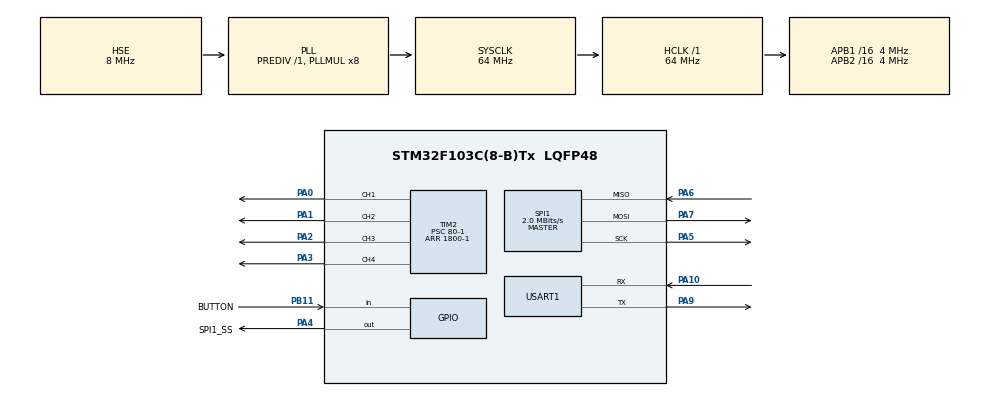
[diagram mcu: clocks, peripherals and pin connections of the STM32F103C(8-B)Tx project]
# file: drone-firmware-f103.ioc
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Mcu.Family=STM32F1
Mcu.Name=STM32F103C(8-B)Tx
Mcu.Package=LQFP48
NVIC.PriorityGroup=NVIC_PRIORITYGROUP_4
PA0-WKUP.Signal=S_TIM2_CH1_ETR
PA1.Signal=S_TIM2_CH2
PA10.Mode=Asynchronous
PA10.Signal=USART1_RX
PA13.Mode=Serial_Wire
PA13.Signal=SYS_JTMS-SWDIO
PA14.Mode=Serial_Wire
PA14.Signal=SYS_JTCK-SWCLK
PA2.Signal=S_TIM2_CH3
PA3.Signal=S_TIM2_CH4
PA4.GPIO_Label=SPI1_SS
PA4.Signal=GPIO_Output
PA5.Mode=Full_Duplex_Master
PA5.Signal=SPI1_SCK
PA6.Mode=Full_Duplex_Master
PA6.Signal=SPI1_MISO
PA7.Mode=Full_Duplex_Master
PA7.Signal=SPI1_MOSI
PA9.Mode=Asynchronous
PA9.Signal=USART1_TX
PB11.GPIO_Label=BUTTON
PB11.GPIO_PuPd=GPIO_PULLDOWN
PB11.Signal=GPIO_Input
PD0-OSC_IN.Mode=HSE-External-Oscillator
PD0-OSC_IN.Signal=RCC_OSC_IN
PD1-OSC_OUT.Mode=HSE-External-Oscillator
PD1-OSC_OUT.Signal=RCC_OSC_OUT
ProjectManager.HeapSize=0x200
ProjectManager.StackSize=0x400
ProjectManager.TargetToolchain=Makefile
RCC.AHBFreq_Value=64000000
RCC.APB1CLKDivider=RCC_HCLK_DIV16
RCC.APB1Freq_Value=4000000
RCC.APB1TimFreq_Value=8000000
RCC.APB2CLKDivider=RCC_HCLK_DIV16
RCC.APB2Freq_Value=4000000
RCC.APB2TimFreq_Value=8000000
RCC.HCLKFreq_Value=64000000
RCC.PLLMUL=RCC_PLL_MUL8
RCC.PLLSourceVirtual=RCC_PLLSOURCE_HSE
RCC.SYSCLKFreq_VALUE=64000000
RCC.SYSCLKSource=RCC_SYSCLKSOURCE_PLLCLK
RCC.USBFreq_Value=64000000
SH.S_TIM2_CH1_ETR.0=TIM2_CH1,PWM Generation1 CH1
SH.S_TIM2_CH2.0=TIM2_CH2,PWM Generation2 CH2
SH.S_TIM2_CH3.0=TIM2_CH3,PWM Generation3 CH3
SH.S_TIM2_CH4.0=TIM2_CH4,PWM Generation4 CH4
SPI1.BaudRatePrescaler=SPI_BAUDRATEPRESCALER_2
SPI1.CalculateBaudRate=2.0 MBits/s
SPI1.Direction=SPI_DIRECTION_2LINES
SPI1.Mode=SPI_MODE_MASTER
SPI1.VirtualType=VM_MASTER
TIM2.Channel-PWM\ Generation1\ CH1=TIM_CHANNEL_1
TIM2.Channel-PWM\ Generation2\ CH2=TIM_CHANNEL_2
TIM2.Channel-PWM\ Generation3\ CH3=TIM_CHANNEL_3
TIM2.Channel-PWM\ Generation4\ CH4=TIM_CHANNEL_4
TIM2.Period=1800-1
TIM2.Prescaler=80-1
USART1.VirtualMode=VM_ASYNC
VP_TIM2_VS_ClockSourceINT.Mode=Internal
board=custom

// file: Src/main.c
/* USER CODE BEGIN Header */
/**
  ******************************************************************************
  * @file           : main.c
  * @brief          : Main program body
  ******************************************************************************
  * @attention
  *
  * <h2><center>&copy; Copyright (c) 2019 STMicroelectronics.
  * All rights reserved.</center></h2>
  *
  * This software component is licensed by ST under BSD 3-Clause license,
  * the "License"; You may not use this file except in compliance with the
  * License. You may obtain a copy of the License at:
  *                        opensource.org/licenses/BSD-3-Clause
  *
  ******************************************************************************
  */
/* USER CODE END Header */

#include "main.h"

/* USER CODE BEGIN PD */
#define ESC1_CHANNEL TIM_CHANNEL_1
#define ESC2_CHANNEL TIM_CHANNEL_2
#define ESC3_CHANNEL TIM_CHANNEL_3
#define ESC4_CHANNEL TIM_CHANNEL_4

/* USER CODE END PD */

SPI_HandleTypeDef hspi1;

TIM_HandleTypeDef htim2;

UART_HandleTypeDef huart1;

void SystemClock_Config(void);
static void MX_GPIO_Init(void);
static void MX_TIM2_Init(void);
static void MX_SPI1_Init(void);
static void MX_USART1_UART_Init(void);
/* USER CODE BEGIN PFP */
void pwm_set_value(uint32_t channel, uint16_t value);
/* USER CODE END PFP */

int main(void)
{

  /* MCU Configuration--------------------------------------------------------*/

  /* Reset of all peripherals, Initializes the Flash interface and the Systick. */
  HAL_Init();

  /* Configure the system clock */
  SystemClock_Config();

  /* Initialize all configured peripherals */
  MX_GPIO_Init();
  MX_TIM2_Init();
  MX_SPI1_Init();
  MX_USART1_UART_Init();
  /* USER CODE BEGIN 2 */
  int pwm_val = 100;
  /* USER CODE END 2 */

  /* Infinite loop */
    while (1)
    {

      /* USER CODE BEGIN 3 */
      if (HAL_GPIO_ReadPin(BUTTON_GPIO_Port, BUTTON_Pin) == GPIO_PIN_SET) {
        pwm_val += 1;
        if (pwm_val > 180) {
          pwm_val = 100;
        }
      } else {
        pwm_val = 100;
      }

      pwm_set_value(ESC1_CHANNEL, pwm_val);
      pwm_set_value(ESC2_CHANNEL, pwm_val);
      HAL_Delay(200);

    }
  /* USER CODE END 3 */
}

void SystemClock_Config(void)
{
  RCC_OscInitTypeDef RCC_OscInitStruct = {0};
  RCC_ClkInitTypeDef RCC_ClkInitStruct = {0};

  /** Initializes the CPU, AHB and APB busses clocks
  */
  RCC_OscInitStruct.OscillatorType = RCC_OSCILLATORTYPE_HSE;
  RCC_OscInitStruct.HSEState = RCC_HSE_ON;
  RCC_OscInitStruct.HSEPredivValue = RCC_HSE_PREDIV_DIV1;
  RCC_OscInitStruct.HSIState = RCC_HSI_ON;
  RCC_OscInitStruct.PLL.PLLState = RCC_PLL_ON;
  RCC_OscInitStruct.PLL.PLLSource = RCC_PLLSOURCE_HSE;
  RCC_OscInitStruct.PLL.PLLMUL = RCC_PLL_MUL8;
  if (HAL_RCC_OscConfig(&RCC_OscInitStruct) != HAL_OK)
  {
    Error_Handler();
  }
  /** Initializes the CPU, AHB and APB busses clocks
  */
  RCC_ClkInitStruct.ClockType = RCC_CLOCKTYPE_HCLK|RCC_CLOCKTYPE_SYSCLK
                              |RCC_CLOCKTYPE_PCLK1|RCC_CLOCKTYPE_PCLK2;
  RCC_ClkInitStruct.SYSCLKSource = RCC_SYSCLKSOURCE_PLLCLK;
  RCC_ClkInitStruct.AHBCLKDivider = RCC_SYSCLK_DIV1;
  RCC_ClkInitStruct.APB1CLKDivider = RCC_HCLK_DIV16;
  RCC_ClkInitStruct.APB2CLKDivider = RCC_HCLK_DIV16;

  if (HAL_RCC_ClockConfig(&RCC_ClkInitStruct, FLASH_LATENCY_2) != HAL_OK)
  {
    Error_Handler();
  }
}

static void MX_SPI1_Init(void)
{

  /* SPI1 parameter configuration*/
  hspi1.Instance = SPI1;
  hspi1.Init.Mode = SPI_MODE_MASTER;
  hspi1.Init.Direction = SPI_DIRECTION_2LINES;
  hspi1.Init.DataSize = SPI_DATASIZE_8BIT;
  hspi1.Init.CLKPolarity = SPI_POLARITY_LOW;
  hspi1.Init.CLKPhase = SPI_PHASE_1EDGE;
  hspi1.Init.NSS = SPI_NSS_SOFT;
  hspi1.Init.BaudRatePrescaler = SPI_BAUDRATEPRESCALER_2;
  hspi1.Init.FirstBit = SPI_FIRSTBIT_MSB;
  hspi1.Init.TIMode = SPI_TIMODE_DISABLE;
  hspi1.Init.CRCCalculation = SPI_CRCCALCULATION_DISABLE;
  hspi1.Init.CRCPolynomial = 10;
  if (HAL_SPI_Init(&hspi1) != HAL_OK)
  {
    Error_Handler();
  }

}

static void MX_TIM2_Init(void)
{

  TIM_ClockConfigTypeDef sClockSourceConfig = {0};
  TIM_MasterConfigTypeDef sMasterConfig = {0};
  TIM_OC_InitTypeDef sConfigOC = {0};

  htim2.Instance = TIM2;
  htim2.Init.Prescaler = 80-1;
  htim2.Init.CounterMode = TIM_COUNTERMODE_UP;
  htim2.Init.Period = 1800-1;
  htim2.Init.ClockDivision = TIM_CLOCKDIVISION_DIV1;
  htim2.Init.AutoReloadPreload = TIM_AUTORELOAD_PRELOAD_DISABLE;
  if (HAL_TIM_Base_Init(&htim2) != HAL_OK)
  {
    Error_Handler();
  }
  sClockSourceConfig.ClockSource = TIM_CLOCKSOURCE_INTERNAL;
  if (HAL_TIM_ConfigClockSource(&htim2, &sClockSourceConfig) != HAL_OK)
  {
    Error_Handler();
  }
  if (HAL_TIM_PWM_Init(&htim2) != HAL_OK)
  {
    Error_Handler();
  }
  sMasterConfig.MasterOutputTrigger = TIM_TRGO_RESET;
  sMasterConfig.MasterSlaveMode = TIM_MASTERSLAVEMODE_DISABLE;
  if (HAL_TIMEx_MasterConfigSynchronization(&htim2, &sMasterConfig) != HAL_OK)
  {
    Error_Handler();
  }
  sConfigOC.OCMode = TIM_OCMODE_PWM1;
  sConfigOC.Pulse = 0;
  sConfigOC.OCPolarity = TIM_OCPOLARITY_HIGH;
  sConfigOC.OCFastMode = TIM_OCFAST_DISABLE;
  if (HAL_TIM_PWM_ConfigChannel(&htim2, &sConfigOC, TIM_CHANNEL_1) != HAL_OK)
  {
    Error_Handler();
  }
  if (HAL_TIM_PWM_ConfigChannel(&htim2, &sConfigOC, TIM_CHANNEL_2) != HAL_OK)
  {
    Error_Handler();
  }
  if (HAL_TIM_PWM_ConfigChannel(&htim2, &sConfigOC, TIM_CHANNEL_3) != HAL_OK)
  {
    Error_Handler();
  }
  if (HAL_TIM_PWM_ConfigChannel(&htim2, &sConfigOC, TIM_CHANNEL_4) != HAL_OK)
  {
    Error_Handler();
  }
  HAL_TIM_MspPostInit(&htim2);

}

static void MX_USART1_UART_Init(void)
{

  huart1.Instance = USART1;
  huart1.Init.BaudRate = 115200;
  huart1.Init.WordLength = UART_WORDLENGTH_8B;
  huart1.Init.StopBits = UART_STOPBITS_1;
  huart1.Init.Parity = UART_PARITY_NONE;
  huart1.Init.Mode = UART_MODE_TX_RX;
  huart1.Init.HwFlowCtl = UART_HWCONTROL_NONE;
  huart1.Init.OverSampling = UART_OVERSAMPLING_16;
  if (HAL_UART_Init(&huart1) != HAL_OK)
  {
    Error_Handler();
  }

}

static void MX_GPIO_Init(void)
{
  GPIO_InitTypeDef GPIO_InitStruct = {0};

  /* GPIO Ports Clock Enable */
  __HAL_RCC_GPIOD_CLK_ENABLE();
  __HAL_RCC_GPIOA_CLK_ENABLE();
  __HAL_RCC_GPIOB_CLK_ENABLE();

  /*Configure GPIO pin Output Level */
  HAL_GPIO_WritePin(SPI1_SS_GPIO_Port, SPI1_SS_Pin, GPIO_PIN_RESET);

  /*Configure GPIO pin : SPI1_SS_Pin */
  GPIO_InitStruct.Pin = SPI1_SS_Pin;
  GPIO_InitStruct.Mode = GPIO_MODE_OUTPUT_PP;
  GPIO_InitStruct.Pull = GPIO_NOPULL;
  GPIO_InitStruct.Speed = GPIO_SPEED_FREQ_LOW;
  HAL_GPIO_Init(SPI1_SS_GPIO_Port, &GPIO_InitStruct);

  /*Configure GPIO pin : BUTTON_Pin */
  GPIO_InitStruct.Pin = BUTTON_Pin;
  GPIO_InitStruct.Mode = GPIO_MODE_INPUT;
  GPIO_InitStruct.Pull = GPIO_PULLDOWN;
  HAL_GPIO_Init(BUTTON_GPIO_Port, &GPIO_InitStruct);

}

/* USER CODE BEGIN 4 */
void pwm_set_value(uint32_t channel, uint16_t value)
{
    TIM_OC_InitTypeDef sConfigOC;
    sConfigOC.OCMode = TIM_OCMODE_PWM1;
    sConfigOC.Pulse = value;
    sConfigOC.OCPolarity = TIM_OCPOLARITY_HIGH;
    sConfigOC.OCFastMode = TIM_OCFAST_DISABLE;

    HAL_TIM_PWM_ConfigChannel(&htim2, &sConfigOC, channel);
    HAL_TIM_PWM_Start(&htim2, channel);
}
/* USER CODE END 4 */

void Error_Handler(void)
{
}

/************************ (C) COPYRIGHT STMicroelectronics *****END OF FILE****/
